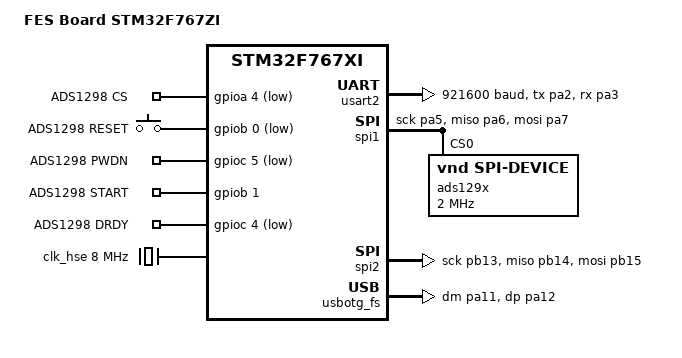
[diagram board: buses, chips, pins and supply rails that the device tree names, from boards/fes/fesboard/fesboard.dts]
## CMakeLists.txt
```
# SPDX-License-Identifier: Apache-2.0

cmake_minimum_required(VERSION 3.20.0)

# Register this directory as a board root so Zephyr finds the custom
# board definition under boards/fes/fesboard/. Must precede find_package.
list(APPEND BOARD_ROOT ${CMAKE_CURRENT_SOURCE_DIR})

find_package(Zephyr REQUIRED HINTS $ENV{ZEPHYR_BASE})
project(emg_reader)

# Read the ADS1298 and stream framed binary samples to the host.
#
# No build options: one behaviour, so there is nothing to get into a wrong
# combination of. examples/main_streaming.c keeps the older application.
#
# No custom log backend: main.c writes frames with uart_poll_out() from the
# acquisition thread, and the stock UART log backend uses the same call from
# the same thread, so the two serialise naturally.
#
# There IS a sample ring (Zephyr's ring_buf, declared in main.c). It decouples
# reading the ADS1298 from framing it, so a stall in transmission no longer
# costs conversions. It does NOT protect against a stall in the poll loop
# itself - the chip has no FIFO, so a conversion nobody reads is simply gone.
# That is why the status log is the remaining source of loss.
# emg_frame.c is kept - it builds the frames the host already knows how to
# decode. emg_stream.c and emg_log_backend.c stay on disk for
# examples/main_streaming.c, which needs interrupt-driven TX for 8 channels.
target_sources(app PRIVATE
    src/main.c
    bus/src/spi_bus.c
    drivers/src/ads129x.c
    proto/src/emg_frame.c
    filters/src/iir.c
    filters/src/bio_filter.c
)

# On-board conditioning: 5-point median + 4th-order Butterworth band-pass.
# The median is what removes impulsive artifacts - a low-pass alone turns a
# spike into a rounded bump, which for ECG is close enough to a QRS to be
# counted as a beat.
#
# Always built. Change the band by editing the corner frequencies at the top of
# src/main.c and reflashing; the host receives conditioned samples either way.

target_include_directories(app PRIVATE
    ${CMAKE_CURRENT_SOURCE_DIR}
    ${CMAKE_CURRENT_SOURCE_DIR}/inc
    ${CMAKE_CURRENT_SOURCE_DIR}/bus/inc
    ${CMAKE_CURRENT_SOURCE_DIR}/drivers/inc
    ${CMAKE_CURRENT_SOURCE_DIR}/filters/inc
    ${CMAKE_CURRENT_SOURCE_DIR}/proto/inc
)
```

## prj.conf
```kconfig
# General
CONFIG_MAIN_STACK_SIZE=2048
CONFIG_HEAP_MEM_POOL_SIZE=1024

# GPIO
CONFIG_GPIO=y

# SPI
CONFIG_SPI=y

# Logging
CONFIG_LOG=y
CONFIG_LOG_DEFAULT_LEVEL=3
# (LOG_BUFFER_SIZE applies to deferred mode only; this build is immediate.)
CONFIG_LOG_PRINTK=y
# IMMEDIATE logging, not deferred. This is required here, not a preference.
#
# Deferred mode queues messages for a log thread that runs at a LOWER priority
# than main (14 vs 0). The acquisition loop busy-polls DRDY and yields with
# k_yield(), which only schedules threads of EQUAL OR HIGHER priority - so the
# log thread never runs once the loop starts, and every message after it queues
# forever. The symptom is the boot banner appearing (k_msleep during reset gave
# the log thread a window) and then nothing at all. See B-024.
#
# Immediate mode writes synchronously from the calling thread, so output cannot
# depend on scheduling. The cost is real but small here: ~0.9 ms per 80-char
# line at 921600, ten lines a second, so under 1 % of the loop's time.
CONFIG_LOG_MODE_IMMEDIATE=y
CONFIG_ASSERT=y

# Console/UART for debug output
CONFIG_CONSOLE=y
CONFIG_UART_CONSOLE=y
CONFIG_SERIAL=y

# The stock UART log backend, ON.
#
# Correct here because there is exactly one writer: main.c clocks frames out
# with uart_poll_out() from the acquisition thread, and this backend uses the
# same call from the same thread, so a log line can only ever land between
# frames.
#
# The streaming firmware (examples/main_streaming.c) cannot do this - its TX
# interrupt writes the same data register concurrently, so a log line lands
# INSIDE a frame and the host loses the block to a CRC failure. That build needs
# CONFIG_LOG_BACKEND_UART=n plus proto/src/emg_log_backend.c in target_sources.
# Setting =n WITHOUT adding that file is what produced total silence for two
# weeks - see B-023.
CONFIG_LOG_BACKEND_UART=y

# Printk
CONFIG_PRINTK=y

# Optional: Float printf support (for displaying voltage values)
CONFIG_CBPRINTF_FP_SUPPORT=y
```

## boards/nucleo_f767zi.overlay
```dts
/*
 * Bench-test overlay: ADS1298 evaluation board (SBAU171, REVB) wired to a
 * Nucleo-F767ZI, using the SAME pin assignment as the custom board
 * (boards/fes/fesboard/fesboard.dts) so wiring and firmware are identical.
 *
 * STM32 signal   Pin    ->  Eval board J3 (REVB)
 *   SPI1 SCK     PA5    ->  J3 pin 3   SCLK
 *   SPI1 MISO    PA6    ->  J3 pin 13  DOUT
 *   SPI1 MOSI    PA7    ->  J3 pin 11  DIN
 *   CS           PA4    ->  J3 pin 1   CS     (set JP21 = 1-2)
 *   RESET        PB0    ->  J3 pin 10  RESET
 *   DRDY         PC4    ->  J3 pin 15  DRDY
 *   START        PB1    ->  J3 pin 14  START  (set JP22 = 2-3)
 *   PWDN         PC5    ->  JP5 header PWDN   (optional; JP5 open = run)
 *   GND          any    ->  J3 pin 4   GND
 *
 * These pins are all on the Nucleo-144 Zio headers (CN7-CN10). Note PB0 is
 * also LD1 (green LED) and PA4/PC4/PC5/PA7 are used by the DAC/Ethernet on
 * this board — the &dac1, &mac and &leds nodes are disabled below to free them.
 *
 * Eval board jumpers for STM32 use: JP21=1-2, JP22=2-3, JP23=2-3 (internal
 * clock), JP18=2-3, JP19=1-2 (OSC1 on), JP24=3.3V, JP5 open, unipolar
 * (JP2=2-3, JP20=1-2). Feed J4 with +5V and +3.3V, grounds common.
 */

#include <zephyr/dt-bindings/gpio/gpio.h>

/ {
	aliases {
		ads1298-spi = &spi1;
		nrf-uart = &usart2;
	};

	/* Discrete ADS1298 control lines (not part of the SPI bus) */
	ads1298_ctrl: ads1298-ctrl {
		compatible = "gpio-keys";

		ads129x_cs: ads129x_cs {
			gpios = <&gpioa 4 (GPIO_ACTIVE_LOW | GPIO_PULL_UP)>; /* PA4 -> J3.1  CS   */
			label = "ADS1298 CS";
		};
		ads129x_reset: ads129x_reset {
			gpios = <&gpiob 0 GPIO_ACTIVE_LOW>;    /* PB0 -> J3.10 RESET */
			label = "ADS1298 RESET";
		};
		ads129x_pwdn: ads129x_pwdn {
			gpios = <&gpioc 5 GPIO_ACTIVE_LOW>;    /* PC5 -> JP5   PWDN  */
			label = "ADS1298 PWDN";
		};
		ads129x_start: ads129x_start {
			gpios = <&gpiob 1 GPIO_ACTIVE_HIGH>;   /* PB1 -> J3.14 START */
			label = "ADS1298 START";
		};
		ads129x_drdy: ads129x_drdy {
			gpios = <&gpioc 4 (GPIO_ACTIVE_LOW | GPIO_PULL_UP)>; /* PC4 -> J3.15 DRDY (EXTI4) */
			label = "ADS1298 DRDY";
		};
	};
};

/*
 * Free the pins the custom board uses that the Nucleo base DTS claims:
 *   Ethernet RMII -> PA7 (MOSI), PC4 (DRDY), PC5 (PWDN)
 *   DAC1 out1     -> PA4 (CS)
 *   LD1 green LED -> PB0 (RESET)
 */
&mac {
	status = "disabled";
};

&mdio {
	status = "disabled";
};

&dac1 {
	status = "disabled";
};

&leds {
	status = "disabled";
};

/*
 * USART2 -> WT02C40C (nRF5340) link, same pins as the custom board:
 * PA2 TX / PA3 RX. The base Nucleo DTS puts USART2 on PD5/PD6, so override
 * the pinctrl. Console stays on USART3 (ST-Link VCP), so this UART is free
 * for the Wi-Fi/BLE module. (PA2 was Ethernet MDIO, already disabled above.)
 */
&usart2 {
	pinctrl-0 = <&usart2_tx_pa2 &usart2_rx_pa3>;
	pinctrl-names = "default";
	current-speed = <115200>;
	status = "okay";
};

/*
 * Console + EMG stream share USART3 (the ST-Link VCP, /dev/ttyACM0).
 *
 * 921600 rather than the base DTS's 115200: 4 channels x 3 bytes x 1000 SPS is
 * 12.0 kB/s of payload, and 115200 8N1 tops out at 11.52 kB/s - it cannot carry
 * the stream at all. At 921600 the link runs about 14 % utilised.
 *
 * Sharing one UART is safe because the frame magic 0xAA 0x55 is outside ASCII,
 * so LOG_* text can never be mistaken for a frame.
 */
&usart3 {
	current-speed = <921600>;
	status = "okay";
};

&spi1 {
	/*
	 * The base DTS puts cs-gpios = PD14 on this controller. The ADS1298
	 * driver drives CS manually via ads129x_cs (PA4), so remove the
	 * auto-CS to avoid two things driving the chip select.
	 */
	/delete-property/ cs-gpios;
	pinctrl-0 = <&spi1_sck_pa5 &spi1_miso_pa6 &spi1_mosi_pa7>;
	pinctrl-names = "default";
	status = "okay";

	ads129x: ads129x@0 {
		compatible = "vnd,spi-device";
		reg = <0>;
		/* 8 MHz. The 27-byte read is 108 us at 2 MHz and 27 us at 8 - and the
		 * shorter the read, the smaller the window in which a conversion can
		 * land on it. RDATA latching makes that window harmless, but there is
		 * no reason to keep it large. Datasheet allows 20 MHz. */
		spi-max-frequency = <8000000>;
		spi-cpha;                           /* SPI mode 1: CPOL=0, CPHA=1 */
		spi-interframe-delay-ns = <0>;
	};
};

/* Ensure the GPIO ports used above are enabled */
&gpioa { status = "okay"; };
&gpiob { status = "okay"; };
&gpioc { status = "okay"; };
```

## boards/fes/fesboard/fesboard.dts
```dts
/*
 * FES Board — STM32F767ZITx biopotential sensing board
 *
 * Wearable 8-channel biopotential AFE (ADS1298) + STM32F767 + Wi-Fi/BLE
 * (WT02C40C) + IMU (ICM-42688-P). Pin assignments extracted from the KiCad
 * schematic (U6 = STM32F767ZITx) and cross-checked in ADS1298_STM32_pinout.md.
 *
 * SPDX-License-Identifier: Apache-2.0
 */

/dts-v1/;
#include <st/f7/stm32f767Xi.dtsi>
#include <st/f7/stm32f767zitx-pinctrl.dtsi>
#include <zephyr/dt-bindings/gpio/gpio.h>

/ {
	model = "FES Board STM32F767ZI";
	compatible = "fes,fesboard";

	chosen {
		/*
		 * USART2 (PA2/PA3) is the link to the WT02C40C module. It also
		 * serves as the bring-up console — attach a 3V3 USB-UART to
		 * PA2(TX)/PA3(RX) while the nRF module is unpopulated. Move the
		 * console to USB-CDC or SEGGER RTT once those are up.
		 */
		zephyr,console = &usart2;
		zephyr,shell-uart = &usart2;
		zephyr,sram = &sram0;
		zephyr,flash = &flash0;
		zephyr,dtcm = &dtcm;
	};

	aliases {
		ads1298-spi = &spi1;
		imu-spi = &spi2;
		nrf-uart = &usart2;
	};

	/*
	 * ADS1298 discrete control lines that are not part of the SPI bus.
	 * Kept as a gpio container so the existing driver can fetch them by
	 * node label via GPIO_DT_SPEC_GET(DT_NODELABEL(ads129x_*), gpios).
	 * (A cleaner refactor is to move these onto the ads129x SPI node as
	 *  reset-gpios/drdy-gpios/... properties — see notes in the docs.)
	 */
	ads1298_ctrl: ads1298-ctrl {
		compatible = "gpio-keys";

		ads129x_cs: ads129x_cs {
			gpios = <&gpioa 4 (GPIO_ACTIVE_LOW | GPIO_PULL_UP)>; /* PA4 -> ADS pin 39 CS (manual) */
			label = "ADS1298 CS";
		};
		ads129x_reset: ads129x_reset {
			gpios = <&gpiob 0 GPIO_ACTIVE_LOW>;   /* PB0  -> ADS pin 36 RESET  */
			label = "ADS1298 RESET";
		};
		ads129x_pwdn: ads129x_pwdn {
			gpios = <&gpioc 5 GPIO_ACTIVE_LOW>;   /* PC5  -> ADS pin 35 PWDN   */
			label = "ADS1298 PWDN";
		};
		ads129x_start: ads129x_start {
			gpios = <&gpiob 1 GPIO_ACTIVE_HIGH>;  /* PB1  -> ADS pin 38 START  */
			label = "ADS1298 START";
		};
		ads129x_drdy: ads129x_drdy {
			gpios = <&gpioc 4 (GPIO_ACTIVE_LOW | GPIO_PULL_UP)>; /* PC4 -> ADS pin 47 DRDY */
			label = "ADS1298 DRDY";
		};
	};
};

/* ---------------------------------------------------------------------------
 * Clocks — real 8 MHz HSE crystal (Y1). Unlike the Nucleo, this is a genuine
 * crystal, so DO NOT set hse-bypass. PLL -> 216 MHz SYSCLK, 48 MHz for USB
 * (VCO 432 MHz / Q=9 = 48 MHz).
 * -------------------------------------------------------------------------*/
&clk_hse {
	clock-frequency = <DT_FREQ_M(8)>;
	status = "okay";
};

&clk_lsi {
	status = "okay";
};

&pll {
	div-m = <4>;
	mul-n = <216>;
	div-p = <2>;
	div-q = <9>;
	clocks = <&clk_hse>;
	status = "okay";
};

&rcc {
	clocks = <&pll>;
	clock-frequency = <DT_FREQ_M(216)>;
	ahb-prescaler = <1>;
	apb1-prescaler = <4>;
	apb2-prescaler = <2>;
};

/* ---------------------------------------------------------------------------
 * USART2 — WT02C40C (nRF5340) link + bring-up console. PA2 TX / PA3 RX.
 * -------------------------------------------------------------------------*/
&usart2 {
	pinctrl-0 = <&usart2_tx_pa2 &usart2_rx_pa3>;
	pinctrl-names = "default";
	current-speed = <921600>;   /* 4 ch x 1000 SPS needs > 12 kB/s */
	status = "okay";
};

/* ---------------------------------------------------------------------------
 * SPI1 — ADS1298 8-channel biopotential AFE (U2).
 *   PA5 SCK / PA6 MISO / PA7 MOSI, PA4 CS (manual GPIO), mode 1.
 * -------------------------------------------------------------------------*/
&spi1 {
	pinctrl-0 = <&spi1_sck_pa5 &spi1_miso_pa6 &spi1_mosi_pa7>;
	pinctrl-names = "default";
	/*
	 * No cs-gpios here on purpose: the ADS1298 driver toggles CS manually
	 * (see spi_cs_control) via the ads129x_cs node = PA4. Adding cs-gpios
	 * would make Zephyr auto-drive PA4 too and fight the driver.
	 */
	status = "okay";

	ads129x: ads129x@0 {
		compatible = "vnd,spi-device";      /* placeholder: hand-rolled driver, no binding yet */
		reg = <0>;
		spi-max-frequency = <2000000>;      /* 2 MHz for bring-up; ADS1298 allows up to 20 MHz */
		spi-cpha;                           /* SPI mode 1: CPOL=0, CPHA=1 (do NOT add spi-cpol) */
		spi-interframe-delay-ns = <0>;
	};
};

/* ---------------------------------------------------------------------------
 * SPI2 — ICM-42688-P 6-axis IMU (U5).
 *   PB13 SCK / PB14 MISO / PB15 MOSI, PD8 CS, PB12 INT1, PD9 INT2.
 * -------------------------------------------------------------------------*/
&spi2 {
	pinctrl-0 = <&spi2_sck_pb13 &spi2_miso_pb14 &spi2_mosi_pb15>;
	pinctrl-names = "default";
	cs-gpios = <&gpiod 8 (GPIO_ACTIVE_LOW | GPIO_PULL_UP)>;  /* PD8 -> IMU CS */
	status = "okay";

	icm42688: icm42688@0 {
		compatible = "invensense,icm42688";
		reg = <0>;
		spi-max-frequency = <8000000>;      /* 24 MHz max; 8 MHz safe for bring-up */
		int-gpios = <&gpiob 12 GPIO_ACTIVE_HIGH>; /* PB12 INT1 */
		/* PD9 (INT2) available as a second interrupt if needed */
		status = "disabled";                /* enable once IMU firmware/CONFIG_ICM42688 is added */
	};
};

/* ---------------------------------------------------------------------------
 * USB OTG FS — USB-C data (PA11 D-, PA12 D+). PA9 is VBUS sense.
 * -------------------------------------------------------------------------*/
zephyr_udc0: &usbotg_fs {
	pinctrl-0 = <&usb_otg_fs_dm_pa11 &usb_otg_fs_dp_pa12>;
	pinctrl-names = "default";
	status = "okay";
};

/*
 * SWD (PA13 SWDIO / PA14 SWCLK) is enabled by default on STM32; no DT node
 * needed. Programmed via J1 (TC2030-NL) with the runners in board.cmake.
 */
```

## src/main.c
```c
#include <stdio.h>
#include <zephyr/kernel.h>
#include <ads129x.h>

struct ads129x_id id_check; 
int id; 
int main()
{
   
   printf("%d", id);
}
```

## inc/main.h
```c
#ifndef __MAIN_H__
#define __MAIN_H__
#include <stdio.h>
#include <zephyr/kernel.h>
#include <zephyr/logging/log.h>
#include <spi_bus.h>
#include <ads129x.h>

#define GPIO_PIN_RESET  0                                                                                                                                                                   
#define GPIO_PIN_SET    1 

#endif
```
